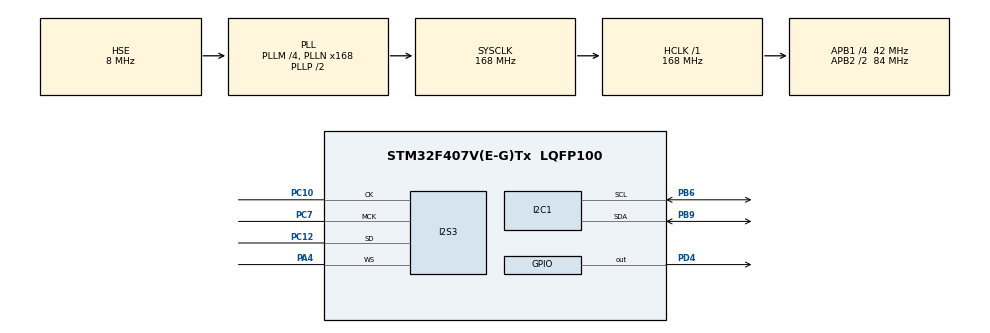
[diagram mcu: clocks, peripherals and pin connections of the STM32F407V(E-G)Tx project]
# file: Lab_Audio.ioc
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I2S3.AudioFreq=I2S_AUDIOFREQ_48K
I2S3.ErrorAudioFreq=-2.34 %
I2S3.FullDuplexMode=I2S_FULLDUPLEXMODE_DISABLE
I2S3.Instance=SPI$Index
I2S3.RealAudioFreq=46.875 KHz
I2S3.VirtualMode=I2S_MODE_MASTER
Mcu.Family=STM32F4
Mcu.Name=STM32F407V(E-G)Tx
Mcu.Package=LQFP100
NVIC.PriorityGroup=NVIC_PRIORITYGROUP_4
PA4.Mode=Half_Duplex_Master
PA4.Signal=I2S3_WS
PB6.Mode=I2C
PB6.Signal=I2C1_SCL
PB9.Mode=I2C
PB9.Signal=I2C1_SDA
PC10.Mode=Half_Duplex_Master
PC10.Signal=I2S3_CK
PC12.Mode=Half_Duplex_Master
PC12.Signal=I2S3_SD
PC14-OSC32_IN.Mode=LSE-External-Oscillator
PC14-OSC32_IN.Signal=RCC_OSC32_IN
PC15-OSC32_OUT.Mode=LSE-External-Oscillator
PC15-OSC32_OUT.Signal=RCC_OSC32_OUT
PC7.Mode=Master_Clock_Activated
PC7.Signal=I2S3_MCK
PD4.GPIO_PuPd=GPIO_PULLDOWN
PD4.Signal=GPIO_Output
PH0-OSC_IN.Mode=HSE-External-Oscillator
PH0-OSC_IN.Signal=RCC_OSC_IN
PH1-OSC_OUT.Mode=HSE-External-Oscillator
PH1-OSC_OUT.Signal=RCC_OSC_OUT
ProjectManager.HeapSize=0x200
ProjectManager.StackSize=0x400
ProjectManager.TargetToolchain=STM32CubeIDE
RCC.48MHZClocksFreq_Value=84000000
RCC.AHBFreq_Value=168000000
RCC.APB1CLKDivider=RCC_HCLK_DIV4
RCC.APB1Freq_Value=42000000
RCC.APB1TimFreq_Value=84000000
RCC.APB2CLKDivider=RCC_HCLK_DIV2
RCC.APB2Freq_Value=84000000
RCC.APB2TimFreq_Value=168000000
RCC.CortexFreq_Value=168000000
RCC.HCLKFreq_Value=168000000
RCC.HSE_VALUE=8000000
RCC.HSI_VALUE=16000000
RCC.PLLM=4
RCC.PLLN=168
RCC.PLLSourceVirtual=RCC_PLLSOURCE_HSE
RCC.SYSCLKFreq_VALUE=168000000
RCC.SYSCLKSource=RCC_SYSCLKSOURCE_PLLCLK
RCC.VCOOutputFreq_Value=336000000
board=custom

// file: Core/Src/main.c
/* USER CODE BEGIN Header */
/**
  ******************************************************************************
  * @file           : main.c
  * @brief          : Main program body
  ******************************************************************************
  * @attention
  *
  * Copyright (c) 2023 STMicroelectronics.
  * All rights reserved.
  *
  * This software is licensed under terms that can be found in the LICENSE file
  * in the root directory of this software component.
  * If no LICENSE file comes with this software, it is provided AS-IS.
  *
  ******************************************************************************
  */
/* USER CODE END Header */
#include "main.h"
#include "i2c.h"
#include "i2s.h"
#include "gpio.h"

/* USER CODE BEGIN Includes */
#include <stdlib.h>
#include "math.h"
#include "audio.h"
/* USER CODE END Includes */

void SystemClock_Config(void);

void SystemClock_Config(void)
{
  RCC_OscInitTypeDef RCC_OscInitStruct = {0};
  RCC_ClkInitTypeDef RCC_ClkInitStruct = {0};

  /** Configure the main internal regulator output voltage
  */
  __HAL_RCC_PWR_CLK_ENABLE();
  __HAL_PWR_VOLTAGESCALING_CONFIG(PWR_REGULATOR_VOLTAGE_SCALE1);

  /** Initializes the RCC Oscillators according to the specified parameters
  * in the RCC_OscInitTypeDef structure.
  */
  RCC_OscInitStruct.OscillatorType = RCC_OSCILLATORTYPE_HSE;
  RCC_OscInitStruct.HSEState = RCC_HSE_ON;
  RCC_OscInitStruct.PLL.PLLState = RCC_PLL_ON;
  RCC_OscInitStruct.PLL.PLLSource = RCC_PLLSOURCE_HSE;
  RCC_OscInitStruct.PLL.PLLM = 4;
  RCC_OscInitStruct.PLL.PLLN = 168;
  RCC_OscInitStruct.PLL.PLLP = RCC_PLLP_DIV2;
  RCC_OscInitStruct.PLL.PLLQ = 4;
  if (HAL_RCC_OscConfig(&RCC_OscInitStruct) != HAL_OK)
  {
    Error_Handler();
  }

  /** Initializes the CPU, AHB and APB buses clocks
  */
  RCC_ClkInitStruct.ClockType = RCC_CLOCKTYPE_HCLK|RCC_CLOCKTYPE_SYSCLK
                              |RCC_CLOCKTYPE_PCLK1|RCC_CLOCKTYPE_PCLK2;
  RCC_ClkInitStruct.SYSCLKSource = RCC_SYSCLKSOURCE_PLLCLK;
  RCC_ClkInitStruct.AHBCLKDivider = RCC_SYSCLK_DIV1;
  RCC_ClkInitStruct.APB1CLKDivider = RCC_HCLK_DIV4;
  RCC_ClkInitStruct.APB2CLKDivider = RCC_HCLK_DIV2;

  if (HAL_RCC_ClockConfig(&RCC_ClkInitStruct, FLASH_LATENCY_5) != HAL_OK)
  {
    Error_Handler();
  }
}

/* USER CODE BEGIN 4 */
int main(void) {
	HAL_Init();
	SystemClock_Config();
	MX_GPIO_Init();
	MX_I2C1_Init();
	MX_I2S3_Init();

	configAudio();

	#define PI       (3.14159265358979323846)
	#define FREQ     (48000)
	#define TARGETHZ (480)

	uint16_t signal[FREQ]; // pola sekunde

	for (uint32_t i = 0; i < FREQ / 2; i++) {
		signal[2*i] = signal[2*i+1] = (int16_t)(0x7FFF * sin(2 * PI * i * TARGETHZ / FREQ));
	}

	while (1) {
		//signal = rand();
        HAL_I2S_Transmit(&hi2s3, signal, FREQ, 10);
	}
}
/* USER CODE END 4 */

void Error_Handler(void)
{
  __disable_irq();
  while (1)
  {
  }
}
